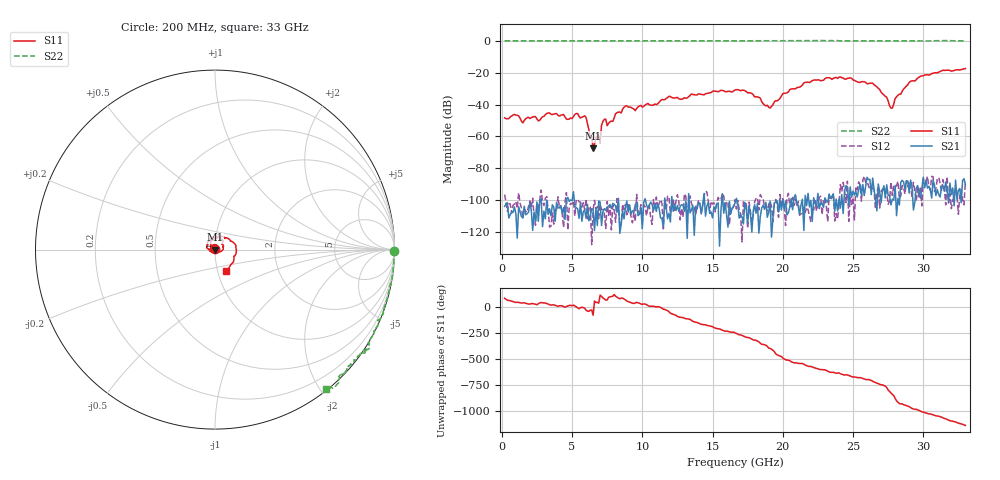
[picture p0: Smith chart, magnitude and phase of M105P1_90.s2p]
# GHZ S RI R 50
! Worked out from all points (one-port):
!   329 points, 200 MHz to 33 GHz, reference 50 ohm
!   lowest |S11| = -67.5 dB at 6.5 GHz (marker M1), VSWR 1.00, Z = 50 - j0.0416 ohm
!   |S11| at or under -10 dB: start of sweep to end of sweep
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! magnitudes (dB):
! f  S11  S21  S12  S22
! 200 MHz  -48.4  -103.9  -96.5  0.0
! 5.7 GHz  -47.9  -113.2  -104.4  0.0
! 6 GHz  -48.2  -111.4  -99.4  0.0
! 6.4 GHz  -60.0  -105.3  -127.9  0.0
! 6.5 GHz  -67.5  -106.0  -106.1  0.0
! 6.8 GHz  -59.6  -115.9  -104.2  0.0
! 7 GHz  -64.0  -101.2  -102.6  0.0
! 7.1 GHz  -53.0  -115.9  -106.0  0.0
! 7.3 GHz  -49.3  -105.3  -108.8  0.0
! 7.5 GHz  -53.3  -104.5  -100.9  0.0
! 8.8 GHz  -41.0  -104.6  -102.7  0.0
! 9.5 GHz  -43.9  -102.9  -113.2  0.0
! 11.2 GHz  -38.5  -105.3  -102.0  0.0
! 16.6 GHz  -30.9  -101.9  -99.7  0.0
! 19.1 GHz  -42.2  -100.6  -100.7  0.0
! 20 GHz  -33.2  -99.8  -99.1  0.0
! 22.1 GHz  -25.0  -113.2  -106.2  0.0
! 26.4 GHz  -26.7  -86.2  -92.3  -0.1
! 27.6 GHz  -40.7  -97.2  -100.7  -0.1
! 27.8 GHz  -42.3  -99.4  -97.1  -0.1
! 29.8 GHz  -22.3  -98.8  -91.4  -0.1
! 33 GHz  -17.5  -90.3  -88.3  -0.1
